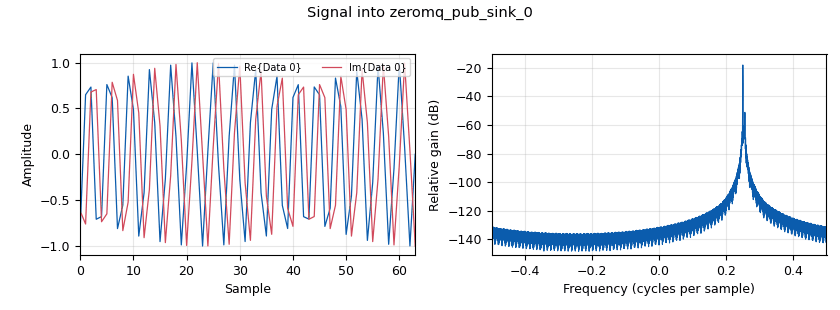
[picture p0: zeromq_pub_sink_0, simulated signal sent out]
options:
  parameters:
    author: irongiant
    generate_options: qt_gui
    id: fskmod
    output_language: python
    title: Not titled yet
  states: {}

blocks:
- name: fsk_deviation_hz
  id: variable
  parameters:
    value: 100e3
  states: {}
- name: offset_freq
  id: variable
  parameters:
    value: 2e6
  states: {}
- name: pulse_duration
  id: variable
  parameters:
    value: '100e-6'
  states: {}
- name: samp_rate
  id: variable
  parameters:
    value: 8e6
  states: {}
- name: time_window
  id: variable
  parameters:
    value: pulse_duration * 10
  states: {}
- name: analog_frequency_modulator_fc_0
  id: analog_frequency_modulator_fc
  parameters:
    sensitivity: (2 * math.pi * (fsk_deviation_hz / 2))/samp_rate
  states: {}
- name: analog_sig_source_x_0
  id: analog_sig_source_x
  parameters:
    amp: '1'
    freq: offset_freq
    offset: '0'
    phase: '0'
    samp_rate: samp_rate
    type: complex
    waveform: analog.GR_COS_WAVE
  states: {}
- name: blocks_multiply_xx_0
  id: blocks_multiply_xx
  parameters:
    type: complex
  states: {}
- name: blocks_repeat_0
  id: blocks_repeat
  parameters:
    interp: 'int(pulse_duration * samp_rate) '
    type: float
  states: {}
- name: blocks_throttle2_0
  id: blocks_throttle2
  parameters:
    samples_per_second: samp_rate
    type: complex
  states: {}
- name: blocks_vector_source_x_0
  id: blocks_vector_source_x
  parameters:
    repeat: 'True'
    type: float
    vector: (0, 1, 1, 1, 0, 1, 0, 1, 0, 1, 0, 0, 0, 0, 0, 0, 0, 0, 0, 0)
  states: {}
- name: import_0
  id: import
  parameters:
    imports: import math
  states: {}
- name: qtgui_time_sink_x_0
  id: qtgui_time_sink_x
  parameters:
    size: int(time_window * samp_rate)
    srate: samp_rate
    type: float
  states: {state: disabled}
- name: qtgui_time_sink_x_0_0
  id: qtgui_time_sink_x
  parameters:
    size: int(time_window * samp_rate)
    srate: samp_rate
    type: complex
  states: {state: disabled}
- name: zeromq_pub_sink_0
  id: zeromq_pub_sink
  parameters:
    address: tcp://127.0.0.1:4444
    timeout: '100'
    type: complex
  states: {}

connections:
- [analog_frequency_modulator_fc_0, '0', blocks_multiply_xx_0, '0']
- [analog_sig_source_x_0, '0', blocks_throttle2_0, '0']
- [blocks_multiply_xx_0, '0', qtgui_time_sink_x_0_0, '0']
- [blocks_multiply_xx_0, '0', zeromq_pub_sink_0, '0']
- [blocks_repeat_0, '0', analog_frequency_modulator_fc_0, '0']
- [blocks_repeat_0, '0', qtgui_time_sink_x_0, '0']
- [blocks_throttle2_0, '0', blocks_multiply_xx_0, '1']
- [blocks_vector_source_x_0, '0', blocks_repeat_0, '0']

metadata:
  file_format: 1
  grc_version: 3.10.7.0
